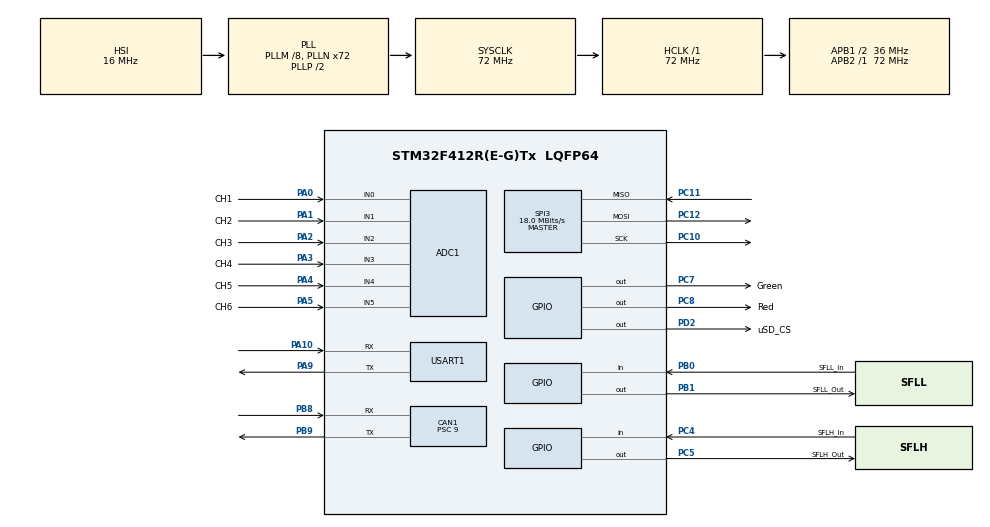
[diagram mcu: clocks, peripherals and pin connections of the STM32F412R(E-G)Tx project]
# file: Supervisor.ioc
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ADC1.Channel-0\#ChannelRegularConversion=ADC_CHANNEL_0
ADC1.Channel-1\#ChannelRegularConversion=ADC_CHANNEL_1
ADC1.Channel-2\#ChannelRegularConversion=ADC_CHANNEL_2
ADC1.Channel-3\#ChannelRegularConversion=ADC_CHANNEL_3
ADC1.Channel-4\#ChannelRegularConversion=ADC_CHANNEL_4
ADC1.Channel-5\#ChannelRegularConversion=ADC_CHANNEL_5
ADC1.NbrOfConversion=6
ADC1.NbrOfConversionFlag=1
ADC1.Rank-0\#ChannelRegularConversion=1
ADC1.Rank-1\#ChannelRegularConversion=2
ADC1.Rank-2\#ChannelRegularConversion=3
ADC1.Rank-3\#ChannelRegularConversion=4
ADC1.Rank-4\#ChannelRegularConversion=5
ADC1.Rank-5\#ChannelRegularConversion=6
ADC1.SamplingTime-0\#ChannelRegularConversion=ADC_SAMPLETIME_3CYCLES
ADC1.SamplingTime-1\#ChannelRegularConversion=ADC_SAMPLETIME_3CYCLES
ADC1.SamplingTime-2\#ChannelRegularConversion=ADC_SAMPLETIME_3CYCLES
ADC1.SamplingTime-3\#ChannelRegularConversion=ADC_SAMPLETIME_3CYCLES
ADC1.SamplingTime-4\#ChannelRegularConversion=ADC_SAMPLETIME_3CYCLES
ADC1.SamplingTime-5\#ChannelRegularConversion=ADC_SAMPLETIME_3CYCLES
ADC1.master=1
CAN1.BS1=CAN_BS1_2TQ
CAN1.BS2=CAN_BS2_1TQ
CAN1.CalculateBaudRate=1000000
CAN1.CalculateTimeBit=1000
CAN1.CalculateTimeQuantum=250.0
CAN1.NART=ENABLE
CAN1.Prescaler=9
FATFS._FS_RPATH=0
FATFS._MAX_SS=4096
FATFS._USE_LFN=1
Mcu.Family=STM32F4
Mcu.Name=STM32F412R(E-G)Tx
Mcu.Package=LQFP64
NVIC.CAN1_RX0_IRQn=true\:0\:0\:false\:false\:true\:true\:true\:true
NVIC.CAN1_TX_IRQn=true\:0\:0\:false\:false\:true\:true\:true\:true
NVIC.PriorityGroup=NVIC_PRIORITYGROUP_4
NVIC.TIM6_IRQn=true\:0\:0\:false\:false\:true\:true\:true\:true
PA0.GPIO_Label=CH1
PA0.Signal=ADCx_IN0
PA1.GPIO_Label=CH2
PA1.Signal=ADCx_IN1
PA10.Mode=Asynchronous
PA10.Signal=USART1_RX
PA13.Mode=Serial_Wire
PA13.Signal=SYS_JTMS-SWDIO
PA14.Mode=Serial_Wire
PA14.Signal=SYS_JTCK-SWCLK
PA2.GPIO_Label=CH3
PA2.Signal=ADCx_IN2
PA3.GPIO_Label=CH4
PA3.Signal=ADCx_IN3
PA4.GPIO_Label=CH5
PA4.Signal=ADCx_IN4
PA5.GPIO_Label=CH6
PA5.Signal=ADCx_IN5
PA9.Mode=Asynchronous
PA9.Signal=USART1_TX
PB0.GPIO_Label=SFLL_In
PB0.Signal=GPIO_Input
PB1.GPIO_Label=SFLL_Out
PB1.Signal=GPIO_Output
PB8.Mode=CAN_Activate
PB8.Signal=CAN1_RX
PB9.Mode=CAN_Activate
PB9.Signal=CAN1_TX
PC10.Mode=Full_Duplex_Master
PC10.Signal=SPI3_SCK
PC11.Mode=Full_Duplex_Master
PC11.Signal=SPI3_MISO
PC12.Mode=Full_Duplex_Master
PC12.Signal=SPI3_MOSI
PC14-OSC32_IN.Mode=LSE-External-Oscillator
PC14-OSC32_IN.Signal=RCC_OSC32_IN
PC15-OSC32_OUT.Mode=LSE-External-Oscillator
PC15-OSC32_OUT.Signal=RCC_OSC32_OUT
PC4.GPIO_Label=SFLH_In
PC4.Signal=GPIO_Input
PC5.GPIO_Label=SFLH_Out
PC5.Signal=GPIO_Output
PC7.GPIO_Label=Green
PC7.Signal=GPIO_Output
PC8.GPIO_Label=Red
PC8.Signal=GPIO_Output
PD2.GPIO_Label=uSD_CS
PD2.Signal=GPIO_Output
PH0\ -\ OSC_IN.Mode=HSE-External-Oscillator
PH0\ -\ OSC_IN.Signal=RCC_OSC_IN
PH1\ -\ OSC_OUT.Mode=HSE-External-Oscillator
PH1\ -\ OSC_OUT.Signal=RCC_OSC_OUT
ProjectManager.HeapSize=0x200
ProjectManager.StackSize=0x400
ProjectManager.TargetToolchain=STM32CubeIDE
RCC.AHBFreq_Value=72000000
RCC.APB1CLKDivider=RCC_HCLK_DIV2
RCC.APB1Freq_Value=36000000
RCC.APB1TimFreq_Value=72000000
RCC.APB2Freq_Value=72000000
RCC.APB2TimFreq_Value=72000000
RCC.CortexFreq_Value=72000000
RCC.HCLKFreq_Value=72000000
RCC.PLLM=8
RCC.PLLN=72
RCC.SYSCLKFreq_VALUE=72000000
RCC.SYSCLKSource=RCC_SYSCLKSOURCE_PLLCLK
RCC.USBFreq_Value=72000000
RCC.VCOOutputFreq_Value=144000000
SH.ADCx_IN0.0=ADC1_IN0,IN0
SH.ADCx_IN1.0=ADC1_IN1,IN1
SH.ADCx_IN2.0=ADC1_IN2,IN2
SH.ADCx_IN3.0=ADC1_IN3,IN3
SH.ADCx_IN4.0=ADC1_IN4,IN4
SH.ADCx_IN5.0=ADC1_IN5,IN5
SPI3.CalculateBaudRate=18.0 MBits/s
SPI3.Direction=SPI_DIRECTION_2LINES
SPI3.Mode=SPI_MODE_MASTER
SPI3.VirtualType=VM_MASTER
TIM6.AutoReloadPreload=TIM_AUTORELOAD_PRELOAD_ENABLE
USART1.VirtualMode=VM_ASYNC
VP_FATFS_VS_Generic.Mode=User_defined
VP_RTC_VS_RTC_Activate.Mode=RTC_Enabled
VP_TIM6_VS_ClockSourceINT.Mode=Enable_Timer
board=custom

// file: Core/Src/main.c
/* USER CODE BEGIN Header */
/**
  ******************************************************************************
  * @file           : main.c
  * @brief          : Main program body
  ******************************************************************************
  * @attention
  *
  * Copyright (c) 2023 STMicroelectronics.
  * All rights reserved.
  *
  * This software is licensed under terms that can be found in the LICENSE file
  * in the root directory of this software component.
  * If no LICENSE file comes with this software, it is provided AS-IS.
  *
  ******************************************************************************
  */
/* USER CODE END Header */
#include "main.h"
#include "fatfs.h"

/* USER CODE BEGIN Includes */
#include "fatfs_sd.h"
#include "1-ConfigurationParser.h"
#include "2-GlobalRoutines.h"
/* USER CODE END Includes */

ADC_HandleTypeDef hadc1;

CAN_HandleTypeDef hcan1;

RTC_HandleTypeDef hrtc;

SPI_HandleTypeDef hspi3;

TIM_HandleTypeDef htim6;

UART_HandleTypeDef huart1;

/* USER CODE BEGIN PV */
GeneralCard Card;
RawConfig Config;
/* USER CODE END PV */

void SystemClock_Config(void);
static void MX_GPIO_Init(void);
static void MX_ADC1_Init(void);
static void MX_CAN1_Init(void);
static void MX_RTC_Init(void);
static void MX_SPI3_Init(void);
static void MX_TIM6_Init(void);
static void MX_USART1_UART_Init(void);

/* USER CODE BEGIN 0 */
CAN_TxHeaderTypeDef TxHeader;
uint32_t MailBox;
uint8_t TxData[8];

CAN_RxHeaderTypeDef RxHeader;
uint8_t RxData[8];

union Data TxRXData;
float RxNumber;
/* USER CODE END 0 */

int main(void)
{
  /* USER CODE BEGIN 1 */
  FATFS fs;
  FRESULT fresult;
  /* USER CODE END 1 */

  /* MCU Configuration--------------------------------------------------------*/

  /* Reset of all peripherals, Initializes the Flash interface and the Systick. */
  HAL_Init();

  /* Configure the system clock */
  SystemClock_Config();

  /* Initialize all configured peripherals */
  MX_GPIO_Init();
  MX_ADC1_Init();
  MX_CAN1_Init();
  MX_RTC_Init();
  MX_SPI3_Init();
  MX_TIM6_Init();
  MX_USART1_UART_Init();
  MX_FATFS_Init();
  /* USER CODE BEGIN 2 */
  HAL_UART_Init(&huart1);
  HAL_CAN_Start(&hcan1);
  HAL_CAN_ActivateNotification(&hcan1,CAN_IT_RX_FIFO0_MSG_PENDING);

  fresult = f_mount(&fs,"",0);
  if (fresult != FR_OK)
  Error_Handler();

  if (ReadConfigFile(&Config) == SAC_CONFIG_NUM)
	  Error_Handler();
  if (Parser(&Card,&Config))
	  Error_Handler();

  Card.sTim = &htim6;
  Card.SAC.adc = &hadc1;
  Card.CAN = &hcan1;

  /* USER CODE END 2 */

  /* Infinite loop */
  while (1)
  {

  }
}

void SystemClock_Config(void)
{
  RCC_OscInitTypeDef RCC_OscInitStruct = {0};
  RCC_ClkInitTypeDef RCC_ClkInitStruct = {0};

  /** Configure the main internal regulator output voltage
  */
  __HAL_RCC_PWR_CLK_ENABLE();
  __HAL_PWR_VOLTAGESCALING_CONFIG(PWR_REGULATOR_VOLTAGE_SCALE1);

  /** Initializes the RCC Oscillators according to the specified parameters
  * in the RCC_OscInitTypeDef structure.
  */
  RCC_OscInitStruct.OscillatorType = RCC_OSCILLATORTYPE_HSI|RCC_OSCILLATORTYPE_LSI;
  RCC_OscInitStruct.LSEState = RCC_LSE_ON;
  RCC_OscInitStruct.HSIState = RCC_HSI_ON;
  RCC_OscInitStruct.HSICalibrationValue = RCC_HSICALIBRATION_DEFAULT;
  RCC_OscInitStruct.LSIState = RCC_LSI_ON;
  RCC_OscInitStruct.PLL.PLLState = RCC_PLL_ON;
  RCC_OscInitStruct.PLL.PLLSource = RCC_PLLSOURCE_HSI;
  RCC_OscInitStruct.PLL.PLLM = 8;
  RCC_OscInitStruct.PLL.PLLN = 72;
  RCC_OscInitStruct.PLL.PLLP = RCC_PLLP_DIV2;
  RCC_OscInitStruct.PLL.PLLQ = 2;
  RCC_OscInitStruct.PLL.PLLR = 2;
  if (HAL_RCC_OscConfig(&RCC_OscInitStruct) != HAL_OK)
  {
    Error_Handler();
  }

  /** Initializes the CPU, AHB and APB buses clocks
  */
  RCC_ClkInitStruct.ClockType = RCC_CLOCKTYPE_HCLK|RCC_CLOCKTYPE_SYSCLK
                              |RCC_CLOCKTYPE_PCLK1|RCC_CLOCKTYPE_PCLK2;
  RCC_ClkInitStruct.SYSCLKSource = RCC_SYSCLKSOURCE_PLLCLK;
  RCC_ClkInitStruct.AHBCLKDivider = RCC_SYSCLK_DIV1;
  RCC_ClkInitStruct.APB1CLKDivider = RCC_HCLK_DIV2;
  RCC_ClkInitStruct.APB2CLKDivider = RCC_HCLK_DIV1;

  if (HAL_RCC_ClockConfig(&RCC_ClkInitStruct, FLASH_LATENCY_2) != HAL_OK)
  {
    Error_Handler();
  }
}

static void MX_ADC1_Init(void)
{

  ADC_ChannelConfTypeDef sConfig = {0};

  /** Configure the global features of the ADC (Clock, Resolution, Data Alignment and number of conversion)
  */
  hadc1.Instance = ADC1;
  hadc1.Init.ClockPrescaler = ADC_CLOCK_SYNC_PCLK_DIV2;
  hadc1.Init.Resolution = ADC_RESOLUTION_12B;
  hadc1.Init.ScanConvMode = ENABLE;
  hadc1.Init.ContinuousConvMode = DISABLE;
  hadc1.Init.DiscontinuousConvMode = DISABLE;
  hadc1.Init.ExternalTrigConvEdge = ADC_EXTERNALTRIGCONVEDGE_NONE;
  hadc1.Init.ExternalTrigConv = ADC_SOFTWARE_START;
  hadc1.Init.DataAlign = ADC_DATAALIGN_RIGHT;
  hadc1.Init.NbrOfConversion = 6;
  hadc1.Init.DMAContinuousRequests = DISABLE;
  hadc1.Init.EOCSelection = ADC_EOC_SINGLE_CONV;
  if (HAL_ADC_Init(&hadc1) != HAL_OK)
  {
    Error_Handler();
  }

  /** Configure for the selected ADC regular channel its corresponding rank in the sequencer and its sample time.
  */
  sConfig.Channel = ADC_CHANNEL_0;
  sConfig.Rank = 1;
  sConfig.SamplingTime = ADC_SAMPLETIME_3CYCLES;
  if (HAL_ADC_ConfigChannel(&hadc1, &sConfig) != HAL_OK)
  {
    Error_Handler();
  }

  /** Configure for the selected ADC regular channel its corresponding rank in the sequencer and its sample time.
  */
  sConfig.Channel = ADC_CHANNEL_1;
  sConfig.Rank = 2;
  if (HAL_ADC_ConfigChannel(&hadc1, &sConfig) != HAL_OK)
  {
    Error_Handler();
  }

  /** Configure for the selected ADC regular channel its corresponding rank in the sequencer and its sample time.
  */
  sConfig.Channel = ADC_CHANNEL_2;
  sConfig.Rank = 3;
  if (HAL_ADC_ConfigChannel(&hadc1, &sConfig) != HAL_OK)
  {
    Error_Handler();
  }

  /** Configure for the selected ADC regular channel its corresponding rank in the sequencer and its sample time.
  */
  sConfig.Channel = ADC_CHANNEL_3;
  sConfig.Rank = 4;
  if (HAL_ADC_ConfigChannel(&hadc1, &sConfig) != HAL_OK)
  {
    Error_Handler();
  }

  /** Configure for the selected ADC regular channel its corresponding rank in the sequencer and its sample time.
  */
  sConfig.Channel = ADC_CHANNEL_4;
  sConfig.Rank = 5;
  if (HAL_ADC_ConfigChannel(&hadc1, &sConfig) != HAL_OK)
  {
    Error_Handler();
  }

  /** Configure for the selected ADC regular channel its corresponding rank in the sequencer and its sample time.
  */
  sConfig.Channel = ADC_CHANNEL_5;
  sConfig.Rank = 6;
  if (HAL_ADC_ConfigChannel(&hadc1, &sConfig) != HAL_OK)
  {
    Error_Handler();
  }

}

static void MX_CAN1_Init(void)
{

  hcan1.Instance = CAN1;
  hcan1.Init.Prescaler = 9;
  hcan1.Init.Mode = CAN_MODE_NORMAL;
  hcan1.Init.SyncJumpWidth = CAN_SJW_1TQ;
  hcan1.Init.TimeSeg1 = CAN_BS1_2TQ;
  hcan1.Init.TimeSeg2 = CAN_BS2_1TQ;
  hcan1.Init.TimeTriggeredMode = DISABLE;
  hcan1.Init.AutoBusOff = DISABLE;
  hcan1.Init.AutoWakeUp = DISABLE;
  hcan1.Init.AutoRetransmission = ENABLE;
  hcan1.Init.ReceiveFifoLocked = DISABLE;
  hcan1.Init.TransmitFifoPriority = DISABLE;
  if (HAL_CAN_Init(&hcan1) != HAL_OK)
  {
    Error_Handler();
  }
  /* USER CODE BEGIN CAN1_Init 2 */
  CAN_FilterTypeDef CAN_Filt;

  CAN_Filt.FilterActivation = CAN_FILTER_ENABLE;
  CAN_Filt.FilterBank = 18;  // which filter bank to use from the assigned ones
  CAN_Filt.FilterFIFOAssignment = CAN_FILTER_FIFO0;
  CAN_Filt.FilterIdHigh = 0xFFF<<5;
  CAN_Filt.FilterIdLow = 0;
  CAN_Filt.FilterMaskIdHigh = 0xFFF<<5;
  CAN_Filt.FilterMaskIdLow = 0x0000;
  CAN_Filt.FilterMode = CAN_FILTERMODE_IDMASK;
  CAN_Filt.FilterScale = CAN_FILTERSCALE_32BIT;
  CAN_Filt.SlaveStartFilterBank = 20;  // how many filters to assign to the CAN1 (master can)

  HAL_CAN_ConfigFilter(&hcan1, &CAN_Filt);
  /* USER CODE END CAN1_Init 2 */

}

static void MX_RTC_Init(void)
{

  /** Initialize RTC Only
  */
  hrtc.Instance = RTC;
  hrtc.Init.HourFormat = RTC_HOURFORMAT_24;
  hrtc.Init.AsynchPrediv = 127;
  hrtc.Init.SynchPrediv = 255;
  hrtc.Init.OutPut = RTC_OUTPUT_DISABLE;
  hrtc.Init.OutPutPolarity = RTC_OUTPUT_POLARITY_HIGH;
  hrtc.Init.OutPutType = RTC_OUTPUT_TYPE_OPENDRAIN;
  if (HAL_RTC_Init(&hrtc) != HAL_OK)
  {
    Error_Handler();
  }

}

static void MX_SPI3_Init(void)
{

  /* SPI3 parameter configuration*/
  hspi3.Instance = SPI3;
  hspi3.Init.Mode = SPI_MODE_MASTER;
  hspi3.Init.Direction = SPI_DIRECTION_2LINES;
  hspi3.Init.DataSize = SPI_DATASIZE_8BIT;
  hspi3.Init.CLKPolarity = SPI_POLARITY_LOW;
  hspi3.Init.CLKPhase = SPI_PHASE_1EDGE;
  hspi3.Init.NSS = SPI_NSS_SOFT;
  hspi3.Init.BaudRatePrescaler = SPI_BAUDRATEPRESCALER_2;
  hspi3.Init.FirstBit = SPI_FIRSTBIT_MSB;
  hspi3.Init.TIMode = SPI_TIMODE_DISABLE;
  hspi3.Init.CRCCalculation = SPI_CRCCALCULATION_DISABLE;
  hspi3.Init.CRCPolynomial = 10;
  if (HAL_SPI_Init(&hspi3) != HAL_OK)
  {
    Error_Handler();
  }

}

static void MX_TIM6_Init(void)
{

  TIM_MasterConfigTypeDef sMasterConfig = {0};

  htim6.Instance = TIM6;
  htim6.Init.Prescaler = 0;
  htim6.Init.CounterMode = TIM_COUNTERMODE_UP;
  htim6.Init.Period = 65535;
  htim6.Init.AutoReloadPreload = TIM_AUTORELOAD_PRELOAD_ENABLE;
  if (HAL_TIM_Base_Init(&htim6) != HAL_OK)
  {
    Error_Handler();
  }
  sMasterConfig.MasterOutputTrigger = TIM_TRGO_RESET;
  sMasterConfig.MasterSlaveMode = TIM_MASTERSLAVEMODE_DISABLE;
  if (HAL_TIMEx_MasterConfigSynchronization(&htim6, &sMasterConfig) != HAL_OK)
  {
    Error_Handler();
  }

}

static void MX_USART1_UART_Init(void)
{

  huart1.Instance = USART1;
  huart1.Init.BaudRate = 115200;
  huart1.Init.WordLength = UART_WORDLENGTH_8B;
  huart1.Init.StopBits = UART_STOPBITS_1;
  huart1.Init.Parity = UART_PARITY_NONE;
  huart1.Init.Mode = UART_MODE_TX_RX;
  huart1.Init.HwFlowCtl = UART_HWCONTROL_NONE;
  huart1.Init.OverSampling = UART_OVERSAMPLING_16;
  if (HAL_UART_Init(&huart1) != HAL_OK)
  {
    Error_Handler();
  }

}

static void MX_GPIO_Init(void)
{
  GPIO_InitTypeDef GPIO_InitStruct = {0};

  /* GPIO Ports Clock Enable */
  __HAL_RCC_GPIOC_CLK_ENABLE();
  __HAL_RCC_GPIOH_CLK_ENABLE();
  __HAL_RCC_GPIOA_CLK_ENABLE();
  __HAL_RCC_GPIOB_CLK_ENABLE();
  __HAL_RCC_GPIOD_CLK_ENABLE();

  /*Configure GPIO pin Output Level */
  HAL_GPIO_WritePin(GPIOC, SFLH_Out_Pin|Green_Pin|Red_Pin, GPIO_PIN_RESET);

  /*Configure GPIO pin Output Level */
  HAL_GPIO_WritePin(SFLL_Out_GPIO_Port, SFLL_Out_Pin, GPIO_PIN_RESET);

  /*Configure GPIO pin Output Level */
  HAL_GPIO_WritePin(uSD_CS_GPIO_Port, uSD_CS_Pin, GPIO_PIN_RESET);

  /*Configure GPIO pin : SFLH_In_Pin */
  GPIO_InitStruct.Pin = SFLH_In_Pin;
  GPIO_InitStruct.Mode = GPIO_MODE_INPUT;
  GPIO_InitStruct.Pull = GPIO_NOPULL;
  HAL_GPIO_Init(SFLH_In_GPIO_Port, &GPIO_InitStruct);

  /*Configure GPIO pins : SFLH_Out_Pin Green_Pin Red_Pin */
  GPIO_InitStruct.Pin = SFLH_Out_Pin|Green_Pin|Red_Pin;
  GPIO_InitStruct.Mode = GPIO_MODE_OUTPUT_PP;
  GPIO_InitStruct.Pull = GPIO_NOPULL;
  GPIO_InitStruct.Speed = GPIO_SPEED_FREQ_LOW;
  HAL_GPIO_Init(GPIOC, &GPIO_InitStruct);

  /*Configure GPIO pin : SFLL_In_Pin */
  GPIO_InitStruct.Pin = SFLL_In_Pin;
  GPIO_InitStruct.Mode = GPIO_MODE_INPUT;
  GPIO_InitStruct.Pull = GPIO_NOPULL;
  HAL_GPIO_Init(SFLL_In_GPIO_Port, &GPIO_InitStruct);

  /*Configure GPIO pin : SFLL_Out_Pin */
  GPIO_InitStruct.Pin = SFLL_Out_Pin;
  GPIO_InitStruct.Mode = GPIO_MODE_OUTPUT_PP;
  GPIO_InitStruct.Pull = GPIO_NOPULL;
  GPIO_InitStruct.Speed = GPIO_SPEED_FREQ_LOW;
  HAL_GPIO_Init(SFLL_Out_GPIO_Port, &GPIO_InitStruct);

  /*Configure GPIO pin : uSD_CS_Pin */
  GPIO_InitStruct.Pin = uSD_CS_Pin;
  GPIO_InitStruct.Mode = GPIO_MODE_OUTPUT_PP;
  GPIO_InitStruct.Pull = GPIO_NOPULL;
  GPIO_InitStruct.Speed = GPIO_SPEED_FREQ_LOW;
  HAL_GPIO_Init(uSD_CS_GPIO_Port, &GPIO_InitStruct);

}

/* USER CODE BEGIN 4 */
void HAL_TIM_PeriodElapsedCallback(TIM_HandleTypeDef* htim)
{
	superRoutine(&Card);
}

void HAL_CAN_RxFifo0MsgPendingCallback(CAN_HandleTypeDef *hcan)
{
	HAL_CAN_GetRxMessage(hcan,CAN_RX_FIFO0, &RxHeader, RxData);
	canParser(&Card,RxHeader.DLC,&RxHeader,RxData);
}
/* USER CODE END 4 */

void Error_Handler(void)
{
  __disable_irq();
  while (1)
  {
  }
}
